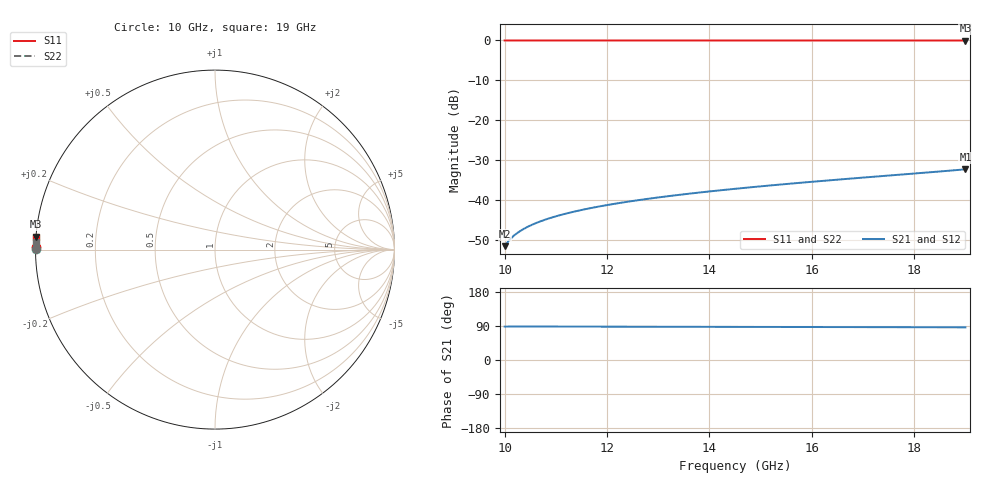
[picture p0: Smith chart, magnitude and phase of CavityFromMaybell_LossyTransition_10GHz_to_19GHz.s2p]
! Touchstone file exported from HFSS 2024.2.0
!  File:  C:/Users/peter/Documents/Ansoft/Maybell_cavity/CavityFromMaybell.aedt
!  Generated:  02:15:14 PM Jun  2, 2025
!  Design:  LossyTransition
!  Project:  CavityFromMaybell
!  Setup:  Setup1
!  Solution:  Sweep
! Variables:
!  $epsr = 5.5
!  $tandel = 0.003
!  a = 0.35in
!  d = 3.5in
!  f0_ideal = 15.3934197621267GHz
!  iris_radius = 0.0705in
!  iris_width = 0.04in
!  rwg_a = 0.622in
!  rwg_b = 0.311in
!  rwg_length = 0.3in
!Data is not renormalized
# GHz S RI
! Terminal data exported
! Port[1] = Port1
! Port[2] = Port2
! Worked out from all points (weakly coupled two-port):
!   101 points, 10 GHz to 19 GHz, reference per port
!   highest |S21| = -32.25 dB at 19 GHz (marker M1); lowest = -51.5 dB at 10 GHz (marker M2)
!   lowest |S11| = 0.0 dB at 19 GHz (marker M3), VSWR 922.11
!   |S11| at or under -10 dB: nowhere
!   |S22| runs from 0.0 to 0.0 dB; largest |S21 - S12| = 8.3e-16
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10  -0.9994 0.0127  9e-05 0.00266  9e-05 0.00266  -0.9997 0.00336
10.09  -0.9993 0.0138  9.55e-05 0.00318  9.55e-05 0.00318  -0.9991 -0.000361
10.18  -0.9993 0.0148  0.000105 0.00361  0.000105 0.00361  -0.9992 0.00189
10.27  -0.9992 0.0158  0.000115 0.00399  0.000115 0.00399  -0.9994 0.00421
10.36  -0.9992 0.0167  0.000124 0.00433  0.000124 0.00433  -0.9994 0.0059
10.45  -0.9991 0.0176  0.000134 0.00465  0.000134 0.00465  -0.9995 0.00707
10.54  -0.9991 0.0184  0.000144 0.00495  0.000144 0.00495  -0.9994 0.0079
10.72  -0.999 0.02  0.000163 0.00551  0.000163 0.00551  -0.9994 0.00908
10.81  -0.999 0.0208  0.000173 0.00577  0.000173 0.00577  -0.9994 0.00956
10.99  -0.9989 0.0223  0.000193 0.00627  0.000193 0.00627  -0.9993 0.0104
11.26  -0.9988 0.0244  0.000222 0.00697  0.000222 0.00697  -0.9992 0.0117
11.53  -0.9987 0.0264  0.000253 0.00762  0.000253 0.00762  -0.9991 0.0129
11.89  -0.9985 0.0289  0.000294 0.00846  0.000294 0.00846  -0.999 0.0144
12.25  -0.9984 0.0313  0.000336 0.00925  0.000336 0.00925  -0.9989 0.0158
12.61  -0.9982 0.0337  0.00038 0.01  0.00038 0.01  -0.9988 0.0171
13.06  -0.9981 0.0365  0.000437 0.011  0.000437 0.011  -0.9987 0.0188
13.69  -0.9978 0.0403  0.000521 0.0123  0.000521 0.0123  -0.9986 0.0209
14.5  -0.9975 0.0451  0.000638 0.0139  0.000638 0.0139  -0.9984 0.0236
15.22  -0.9972 0.0493  0.000753 0.0154  0.000753 0.0154  -0.9983 0.026
16.03  -0.9968 0.054  0.000895 0.0171  0.000895 0.0171  -0.9981 0.0287
17.56  -0.9961 0.063  0.00121 0.0205  0.00121 0.0205  -0.9977 0.0339
19  -0.9952 0.0719  0.00162 0.0244  0.00162 0.0244  -0.9972 0.0396
